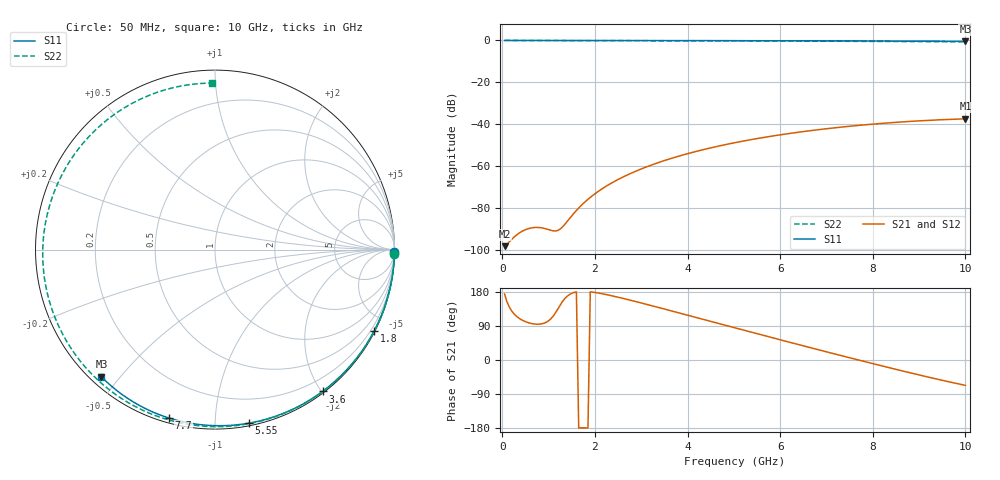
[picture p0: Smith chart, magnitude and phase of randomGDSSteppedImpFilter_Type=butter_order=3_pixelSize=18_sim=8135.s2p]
! freq	dB(S11)	phase(S11)	dB(S12)	phase(S12)
!  dB(S21)	phase(S21)	dB(S22)	phase(S22)
!S-par simulation data
#  GHz  S  DB  R 50
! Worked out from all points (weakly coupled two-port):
!   200 points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, 50 MHz to 10 GHz, reference 50 ohm
!   highest |S21| = -37.39 dB at 10 GHz (marker M1); lowest = -98.1 dB at 50 MHz (marker M2)
!   lowest |S11| = -0.4 dB at 10 GHz (marker M3), VSWR 38.97, Z = 1.54 - j22.4 ohm
!   |S11| at or under -10 dB: nowhere
!   |S22| runs from -0.7 to 0.0 dB; largest |S21 - S12| = 0
!   S11 on the Smith chart (normalised r, x): 50 MHz: open; 1.8 GHz: 0.04, -4.16; 3.6 GHz: 0.02, -2.01; 5.55 GHz: 0.02, -1.22; 7.7 GHz: 0.02, -0.76; 10 GHz: 0.03, -0.45
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0.05  -0.00 -0.8  -98.14 174.0  -98.14 174.0  -0.00 -1.4
0.8  -0.01 -12.1  -89.24 94.6  -89.24 94.6  -0.02 -21.9
1.6  -0.03 -24.1  -81.10 179.7  -81.10 179.7  -0.05 -43.3
1.65  -0.03 -24.8  -79.92 -179.4  -79.92 -179.4  -0.06 -44.6
1.75  -0.03 -26.3  -77.74 -178.9  -77.74 -178.9  -0.06 -47.2
1.8  -0.03 -27.0  -76.73 -179.1  -76.73 -179.1  -0.06 -48.5
2.1  -0.04 -31.4  -71.58 176.2  -71.58 176.2  -0.07 -56.3
2.45  -0.05 -36.5  -66.91 167.1  -66.91 167.1  -0.08 -65.3
2.9  -0.06 -42.9  -62.20 153.6  -62.20 153.6  -0.10 -76.7
3.4  -0.07 -50.0  -58.04 137.7  -58.04 137.7  -0.12 -89.1
3.6  -0.07 -52.8  -56.60 131.3  -56.60 131.3  -0.12 -94.0
4.3  -0.09 -62.4  -52.30 108.5  -52.30 108.5  -0.16 -111.0
5.05  -0.11 -72.4  -48.64 84.1  -48.64 84.1  -0.20 -128.9
5.55  -0.13 -78.9  -46.62 67.9  -46.62 67.9  -0.23 -140.9
6.15  -0.15 -86.5  -44.53 48.5  -44.53 48.5  -0.27 -155.5
6.7  -0.18 -93.3  -42.90 31.0  -42.90 31.0  -0.32 -169.2
7.2  -0.21 -99.3  -41.62 15.3  -41.62 15.3  -0.36 177.8
7.7  -0.24 -105.3  -40.50 -0.3  -40.50 -0.3  -0.41 164.3
8.35  -0.29 -112.9  -39.30 -20.2  -39.30 -20.2  -0.48 145.6
8.8  -0.33 -118.1  -38.62 -33.6  -38.62 -33.6  -0.53 131.8
9.25  -0.37 -123.3  -38.06 -46.6  -38.06 -46.6  -0.58 117.1
10  -0.45 -131.8  -37.39 -67.0  -37.39 -67.0  -0.65 90.9
